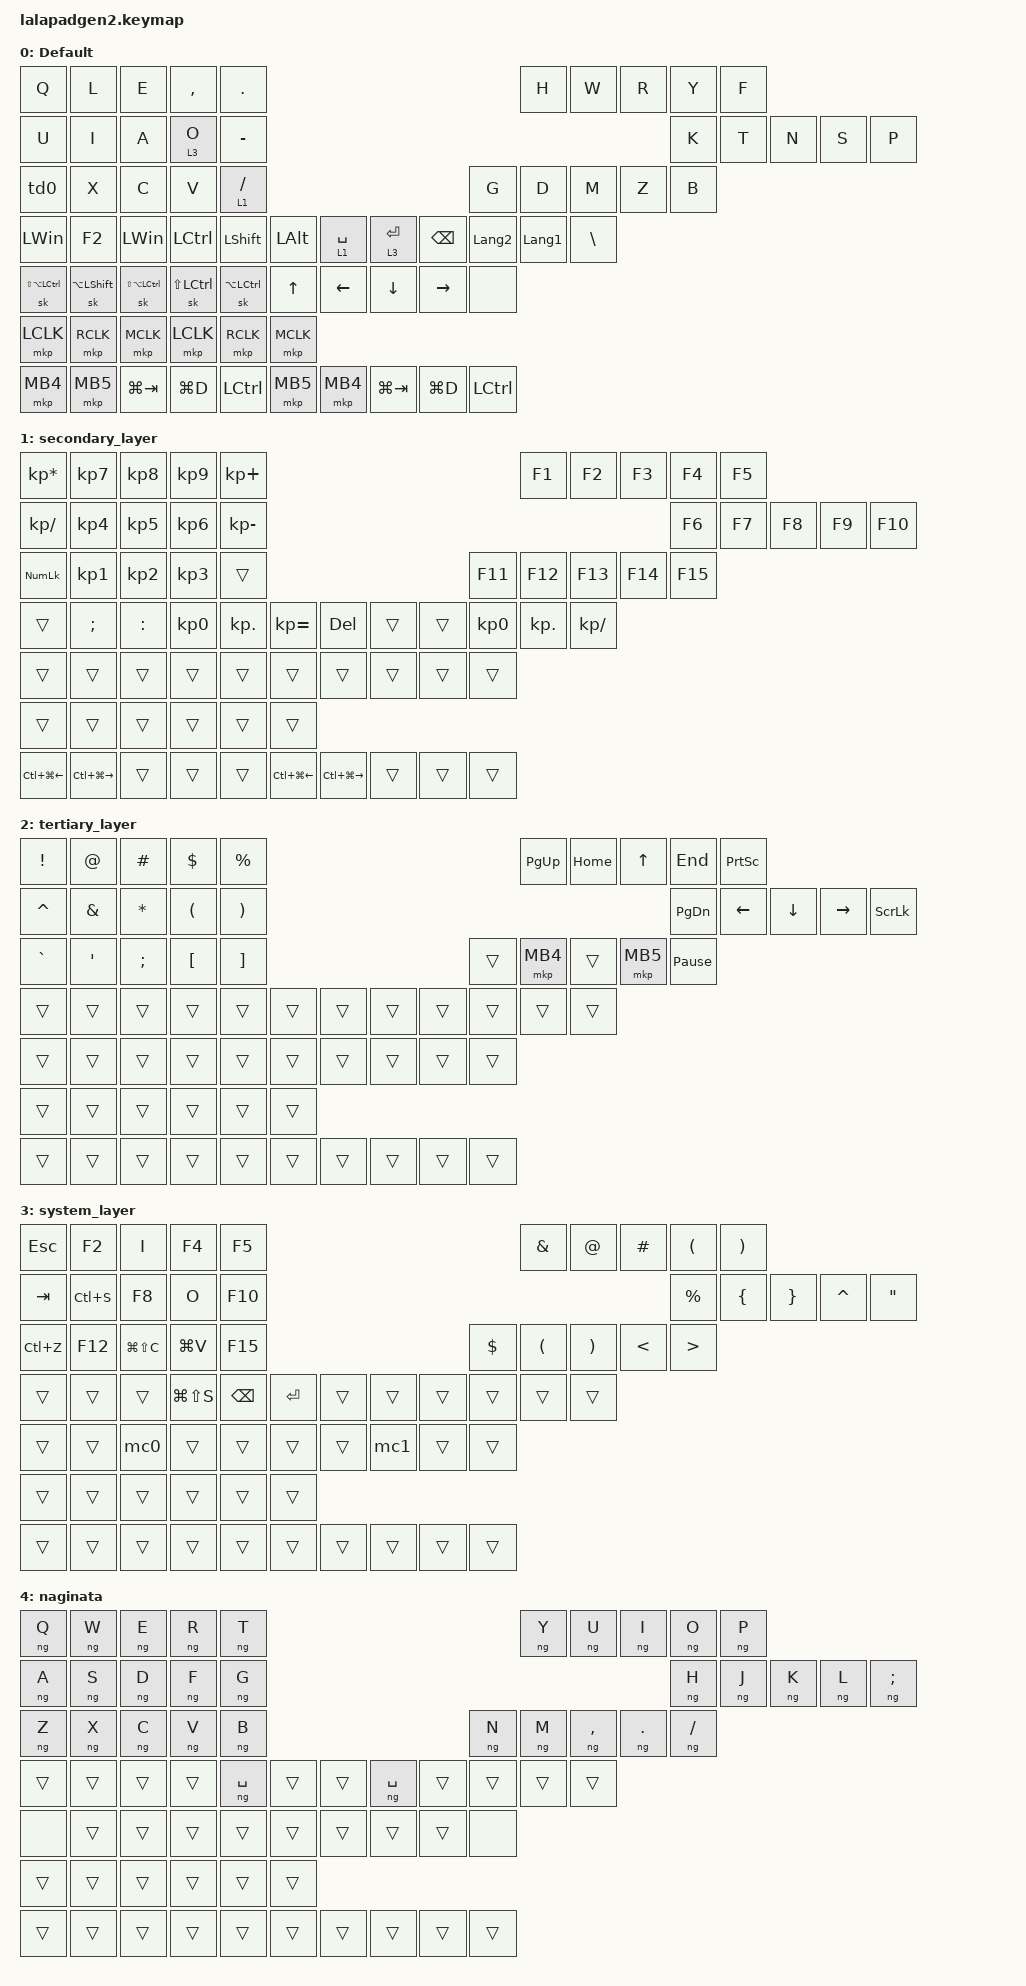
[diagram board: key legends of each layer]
#include <input/processors.dtsi>
#include <dt-bindings/zmk/zip_dynamic_scale.h>
#include <behaviors/naginata.dtsi>
#include <behaviors.dtsi>
#include <dt-bindings/zmk/bt.h>
#include <dt-bindings/zmk/keys.h>
#include <dt-bindings/zmk/outputs.h>
#include <dt-bindings/zmk/pointing.h>

#define DEFAULT_LAYER   0
#define SECONDARY_LAYER 1
#define TERTIARY_LAYER  2
#define SYSTEM_LAYER    3
#define NAGINATA_LAYER  4

&mt { quick-tap-ms = <200>; };

&lt { quick-tap-ms = <200>; };

/ {
    behaviors {
        zip_dyn_scale: zip_dyn_scale {
            compatible = "zmk,behavior-zip-dynamic-scale";
            #binding-cells = <2>;
        };

        zip_dyn_scale_set: zip_dyn_scale_set {
            compatible = "zmk,behavior-zip-dynamic-scale-set";
            #binding-cells = <2>;
        };

        mt2: mod_tap2 {
            compatible = "zmk,behavior-hold-tap";
            #binding-cells = <2>;
            flavor = "tap-preferred";
            tapping-term-ms = <200>;
            quick-tap-ms = <200>;
            require-prior-idle-ms = <125>;
            bindings = <&kp>, <&kp>;
        };

        tap_dance_layer_1and2: tap_dance_layer_1and2 {
            compatible = "zmk,behavior-tap-dance";
            label = "td_mo12";
            #binding-cells = <0>;
            bindings = <&mo 1>, <&mo 2>;
        };

        /* REMAP_LALAPAD_TD_BEGIN */
        td0: td0 {
            compatible = "zmk,behavior-tap-dance-triple";
            #binding-cells = <0>;
            tapping-term-ms = <200>;
            bindings = <&kp J>, <&kp LEFT_CONTROL>, <&kp Z>;
        };
        /* REMAP_LALAPAD_TD_END */
    };

    macros {
        ng_on: ng_on {
            compatible = "zmk,behavior-macro";
            #binding-cells = <0>;
            bindings = <&macro_tap &kp LANGUAGE_1 &kp INTERNATIONAL_4 &to NAGINATA_LAYER>;
        };

        ng_off: ng_off {
            compatible = "zmk,behavior-macro";
            #binding-cells = <0>;
            bindings = <&macro_tap &kp LANGUAGE_2 &kp INTERNATIONAL_5 &to DEFAULT_LAYER>;
        };

        /* REMAP_LALAPAD_MACRO_BEGIN */
        mc0: mc0 {
            compatible = "zmk,behavior-macro";
            #binding-cells = <0>;
            bindings = <&macro_press &kp LEFT_CONTROL>
                     , <&macro_press &kp LEFT_ALT>
                     , <&macro_wait_time 50>
                     , <&macro_tap &kp SLASH>
                     , <&macro_wait_time 50>
                     , <&macro_release &kp LEFT_CONTROL>
                     , <&macro_release &kp LEFT_ALT>
                     , <&macro_wait_time 2000>
                     , <&macro_press &kp LEFT_CONTROL>
                     , <&macro_tap &kp V>
                     , <&macro_wait_time 30>
                     , <&macro_release &kp LEFT_CONTROL>
                     ;
        };

        mc1: mc1 {
            compatible = "zmk,behavior-macro";
            #binding-cells = <0>;
            bindings = <&macro_press &kp LWIN>
                     , <&macro_tap &kp X>
                     , <&macro_release &kp LWIN>
                     , <&macro_wait_time 500>
                     , <&macro_tap &kp U>
                     , <&macro_wait_time 100>
                     , <&macro_tap &kp S>
                     ;
        };
        /* REMAP_LALAPAD_MACRO_END */
    };

    combos {
        compatible = "zmk,combos";

        CONBO_ESC {
            bindings = <&kp ESCAPE>;
            key-positions = <0 1>;
        };
        COMBO_TAB {
            bindings = <&kp TAB>;
            key-positions = <10 11>;
        };
        COMBO_NG_ON {
            timeout-ms = <300>;
            bindings = <&ng_on>;
            key-positions = <15 16>;
            layers = <DEFAULT_LAYER>;
        };
        COMBO_NG_OFF {
            timeout-ms = <300>;
            bindings = <&ng_off>;
            key-positions = <13 14>;
            layers = <DEFAULT_LAYER NAGINATA_LAYER>;
        };
        COMBO_5 {
            bindings = <&kp QMARK>;
            key-positions = <3 4>;
            layers = <0>;
        };
        COMBO_6 {
            bindings = <&kp EXCL>;
            key-positions = <2 3>;
            layers = <0>;
        };
        COMBO_7 {
            bindings = <&kp LANGUAGE_2>;
            key-positions = <23 24>;
            layers = <0>;
        };
        COMBO_8 {
            bindings = <&kp LANGUAGE_1>;
            key-positions = <25 26>;
            layers = <0>;
        };
    };

    keymap {
        compatible = "zmk,keymap";

        DEFAULT_LAYER {
            display-name = "Default";
            bindings = <
            &kp Q  &kp L  &kp E  &kp COMMA  &kp PERIOD  &kp H  &kp W  &kp R  &kp Y  &kp F
            &kp U  &kp I  &kp A  &lt 3 O  &kp MINUS  &kp K  &kp T  &kp N  &kp S  &kp P
            &td0  &kp X  &kp C  &kp V  &lt 1 SLASH  &kp G  &kp D  &kp M  &kp Z  &kp B
            &kp LWIN  &kp F2  &kp LWIN  &kp LEFT_CONTROL  &kp LEFT_SHIFT  &kp LEFT_ALT  &lt 1 SPACE  &lt 3 ENTER  &kp BACKSPACE  &kp LANGUAGE_2  &kp LANGUAGE_1  &kp BACKSLASH
            &sk LS(LA(LCTRL))  &sk LA(LSHIFT)  &sk LS(LA(LCTRL))  &sk LS(LCTRL)  &sk LA(LCTRL)  &kp UP  &kp LEFT  &kp DOWN  &kp RIGHT  &none
            &mkp LCLK  &mkp RCLK  &mkp MCLK  &mkp LCLK  &mkp RCLK  &mkp MCLK
            &mkp MB4  &mkp MB5  &kp LG(TAB)  &kp LG(D)  &kp LCTRL  &mkp MB5  &mkp MB4  &kp LG(TAB)  &kp LG(D)  &kp LCTRL
            >;
        };

        SECONDARY_LAYER {
            display-name = "secondary_layer";
            bindings = <
            &kp KP_ASTERISK  &kp KP_NUMBER_7  &kp KP_NUMBER_8  &kp KP_NUMBER_9  &kp KP_PLUS  &kp F1  &kp F2  &kp F3  &kp F4  &kp F5
            &kp KP_DIVIDE  &kp KP_NUMBER_4  &kp KP_NUMBER_5  &kp KP_NUMBER_6  &kp KP_MINUS  &kp F6  &kp F7  &kp F8  &kp F9  &kp F10
            &kp KP_NUMLOCK  &kp KP_NUMBER_1  &kp KP_NUMBER_2  &kp KP_NUMBER_3  &trans  &kp F11  &kp F12  &kp F13  &kp F14  &kp F15
            &trans  &kp SEMI  &kp COLON  &kp KP_NUMBER_0  &kp KP_DOT  &kp KP_EQUAL  &kp DEL  &trans  &trans  &kp KP_NUMBER_0  &kp KP_DOT  &kp KP_DIVIDE
            &trans  &trans  &trans  &trans  &trans  &trans  &trans  &trans  &trans  &trans
            &trans  &trans  &trans  &trans  &trans  &trans
            &kp LC(LG(LEFT))  &kp LC(LG(RIGHT))  &trans  &trans  &trans  &kp LC(LG(LEFT))  &kp LC(LG(RIGHT))  &trans  &trans  &trans
            >;
        };

        TERTIARY_LAYER {
            display-name = "tertiary_layer";
            bindings = <
            &kp EXCLAMATION  &kp AT_SIGN  &kp HASH  &kp DOLLAR  &kp PERCENT  &kp PAGE_UP  &kp HOME  &kp UP_ARROW  &kp END  &kp PRINTSCREEN
            &kp CARET  &kp AMPERSAND  &kp ASTERISK  &kp LEFT_PARENTHESIS  &kp RIGHT_PARENTHESIS  &kp PAGE_DOWN  &kp LEFT  &kp DOWN_ARROW  &kp RIGHT  &kp SCROLLLOCK
            &kp GRAVE  &kp SQT  &kp SEMI  &kp LEFT_BRACKET  &kp RIGHT_BRACKET  &trans  &mkp MB4  &trans  &mkp MB5  &kp PAUSE_BREAK
            &trans  &trans  &trans  &trans  &trans  &trans  &trans  &trans  &trans  &trans  &trans  &trans
            &trans  &trans  &trans  &trans  &trans  &trans  &trans  &trans  &trans  &trans
            &trans  &trans  &trans  &trans  &trans  &trans
            &trans  &trans  &trans  &trans  &trans  &trans  &trans  &trans  &trans  &trans
            >;
        };

        SYSTEM_LAYER {
            display-name = "system_layer";
            bindings = <
            &kp ESCAPE  &kp F2  &kp I  &kp F4  &kp F5  &kp AMPS  &kp AT  &kp HASH  &kp LPAR  &kp RPAR
            &kp TAB  &kp LC(S)  &kp F8  &kp O  &kp F10  &kp PRCNT  &kp LBRC  &kp RBRC  &kp CARET  &kp DQT
            &kp LC(Z)  &kp F12  &kp LG(LS(C))  &kp LG(V)  &kp F15  &kp DLLR  &kp LPAR  &kp RPAR  &kp LT  &kp GT
            &trans  &trans  &trans  &kp LG(LS(S))  &kp BACKSPACE  &kp ENTER  &trans  &trans  &trans  &trans  &trans  &trans
            &trans  &trans  &mc0  &trans  &trans  &trans  &trans  &mc1  &trans  &trans
            &trans  &trans  &trans  &trans  &trans  &trans
            &trans  &trans  &trans  &trans  &trans  &trans  &trans  &trans  &trans  &trans
            >;
        };

        NAGINATA_LAYER {
            display-name = "naginata";
            bindings = <
            &ng Q  &ng W  &ng E  &ng R  &ng T  &ng Y  &ng U  &ng I  &ng O  &ng P
            &ng A  &ng S  &ng D  &ng F  &ng G  &ng H  &ng J  &ng K  &ng L  &ng SEMI
            &ng Z  &ng X  &ng C  &ng V  &ng B  &ng N  &ng M  &ng COMMA  &ng PERIOD  &ng SLASH
            &trans  &trans  &trans  &trans  &ng SPACE  &trans  &trans  &ng SPACE  &trans  &trans  &trans  &trans
            &none  &trans  &trans  &trans  &trans  &trans  &trans  &trans  &trans  &none
            &trans  &trans  &trans  &trans  &trans  &trans
            &trans  &trans  &trans  &trans  &trans  &trans  &trans  &trans  &trans  &trans
            >;
        };
    };

    conditional_layers {
        compatible = "zmk,conditional-layers";
    };
};
